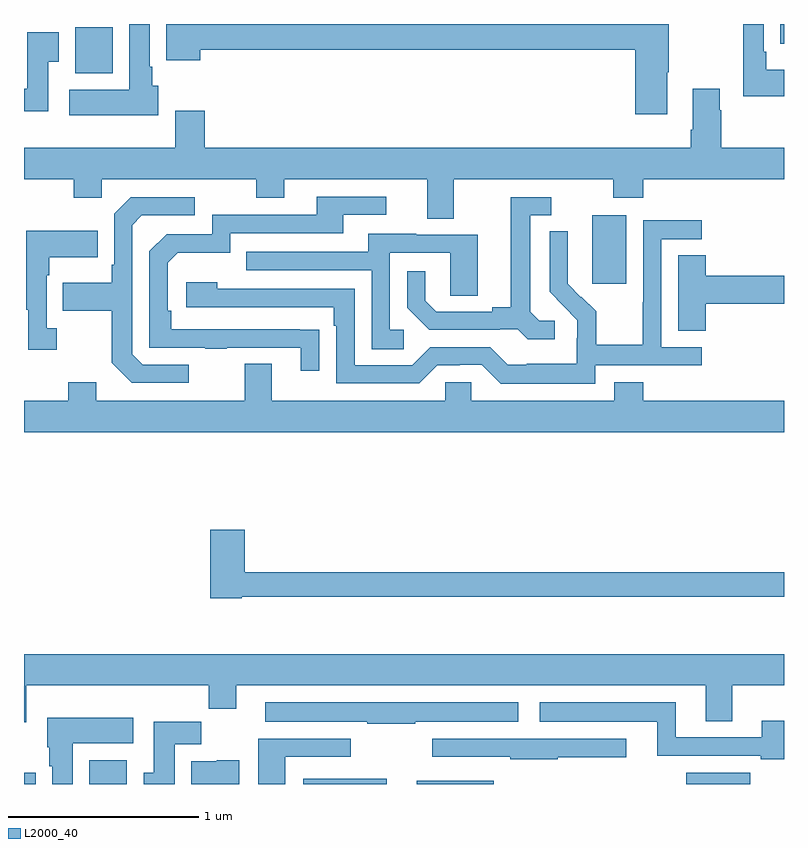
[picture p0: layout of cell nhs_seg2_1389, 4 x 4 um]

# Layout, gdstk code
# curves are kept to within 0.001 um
import gdstk
lib = gdstk.Library(unit=1e-6, precision=1e-09)
def R(c, l, rs):  # rectangles x0, y0, x1, y1
    for r in rs: c.add(gdstk.rectangle(r[:2], r[2:], *l))
def P(c, l, *ps):  # polygons
    for p in ps: c.add(gdstk.Polygon(p, *l))
L2000_40 = (2000, 40)

nhs_seg2_1389 = lib.new_cell('nhs_seg2_1389')
R(nhs_seg2_1389, L2000_40, [(183,629.8,183.061,629.86), (183.344,629.8,183.541,629.926), (184.469,629.8,184.909,629.827), (185.066,629.8,185.473,629.818), (186.485,629.8,186.823,629.86), (185.99,632.433,186.169,632.794), (183.269,633.542,183.466,633.784), (186.979,633.695,187,633.8)])
P(nhs_seg2_1389, L2000_40, [(183.706,633.474),(183.676,633.474),(183.676,633.574),(183.661,633.574),(183.661,633.8),(183.554,633.8),(183.554,633.454),(183.237,633.454),(183.237,633.32),(183.706,633.32)],
  [(187,633.559),(186.907,633.559),(186.907,633.655),(186.894,633.655),(186.894,633.8),(186.786,633.8),(186.786,633.419),(187,633.419)],
  [(186.385,633.547),(186.393,633.547),(186.393,633.8),(183.749,633.8),(183.749,633.608),(183.928,633.608),(183.928,633.664),(186.218,633.664),(186.218,633.324),(186.385,633.324)],
  [(183.127,633.601),(183.184,633.601),(183.184,633.757),(183.017,633.757),(183.017,633.46),(183,633.46),(183,633.342),(183.127,633.342)],
  [(185.263,632.984),(186.1,632.984),(186.1,632.885),(186.26,632.885),(186.26,632.984),(187,632.984),(187,633.148),(186.669,633.148),(186.669,633.347),(186.661,633.347),(186.661,633.46),(186.521,633.46),(186.521,633.244),(186.509,633.244),(186.509,633.148),(183.95,633.148),(183.95,633.343),(183.797,633.343),(183.797,633.148),(183,633.148),(183,632.984),(183.262,632.984),(183.262,632.885),(183.408,632.885),(183.408,632.984),(184.222,632.984),(184.222,632.885),(184.369,632.885),(184.369,632.984),(185.123,632.984),(185.123,632.776),(185.263,632.776)],
  [(184.553,632.192),(183.776,632.193),(183.776,632.29),(183.756,632.29),(183.756,632.544),(183.809,632.597),(184.086,632.597),(184.086,632.7),(184.681,632.7),(184.681,632.796),(184.906,632.796),(184.906,632.892),(184.541,632.892),(184.541,632.796),(183.99,632.796),(183.99,632.694),(183.75,632.694),(183.66,632.604),(183.66,632.097),(183.955,632.097),(183.955,632.092),(184.067,632.092),(184.067,632.097),(184.457,632.097),(184.457,631.974),(184.553,631.974)],
  [(183.868,632.007),(183.624,632.007),(183.57,632.061),(183.57,632.742),(183.621,632.793),(183.898,632.793),(183.898,632.889),(183.561,632.889),(183.474,632.802),(183.474,632.533),(183.462,632.533),(183.462,632.437),(183.205,632.437),(183.205,632.29),(183.462,632.29),(183.462,632.017),(183.567,631.911),(183.868,631.911)],
  [(185.794,632.238),(185.712,632.238),(185.665,632.285),(185.665,632.793),(185.776,632.793),(185.776,632.889),(185.561,632.889),(185.561,632.309),(185.465,632.309),(185.465,632.286),(185.17,632.286),(185.113,632.343),(185.113,632.5),(185.016,632.5),(185.016,632.306),(185.132,632.19),(185.504,632.19),(185.504,632.193),(185.598,632.193),(185.65,632.141),(185.794,632.141)],
  [(186.006,632.004),(186.568,632.004),(186.568,632.1),(186.354,632.1),(186.354,632.667),(186.568,632.667),(186.568,632.766),(186.258,632.766),(186.258,632.336),(186.256,632.336),(186.256,632.113),(186.011,632.113),(186.011,632.287),(185.934,632.364),(185.931,632.361),(185.861,632.432),(185.862,632.708),(185.766,632.708),(185.766,632.39),(185.912,632.242),(185.912,632.145),(185.91,632.145),(185.91,632.011),(185.647,632.011),(185.647,632.007),(185.547,632.007),(185.454,632.1),(185.139,632.1),(185.043,632.004),(184.74,632.004),(184.74,632.406),(184.016,632.406),(184.016,632.44),(183.855,632.44),(183.855,632.31),(184.631,632.31),(184.631,632.213),(184.644,632.213),(184.644,631.908),(185.079,631.908),(185.175,632.004),(185.294,632.004),(185.294,632.007),(185.409,632.007),(185.509,631.907),(186.006,631.907)],
  [(183.172,632.198),(183.12,632.198),(183.12,632.477),(183.133,632.477),(183.133,632.573),(183.389,632.573),(183.389,632.713),(183.012,632.713),(183.012,632.297),(183.023,632.297),(183.023,632.085),(183.172,632.085)],
  [(184.999,632.19),(184.926,632.19),(184.926,632.595),(185.244,632.595),(185.244,632.371),(185.389,632.371),(185.389,632.691),(185.065,632.691),(185.065,632.695),(184.811,632.695),(184.811,632.601),(184.171,632.601),(184.171,632.505),(184.83,632.505),(184.83,632.089),(184.999,632.089)],
  [(186.587,632.327),(187,632.327),(187,632.474),(186.587,632.474),(186.587,632.582),(186.443,632.582),(186.443,632.185),(186.587,632.185)],
  [(187,631.816),(186.26,631.816),(186.26,631.915),(186.107,631.915),(186.107,631.816),(185.355,631.816),(185.355,631.914),(185.217,631.914),(185.217,631.816),(184.303,631.816),(184.303,632.011),(184.163,632.011),(184.163,631.816),(183.379,631.816),(183.379,631.915),(183.232,631.915),(183.232,631.816),(183,631.816),(183,631.652),(187,631.652)],
  [(184.146,630.786),(187,630.786),(187,630.914),(184.163,630.914),(184.163,631.138),(183.98,631.138),(183.98,630.778),(184.146,630.778)],
  [(183.013,630.32),(183.973,630.32),(183.973,630.196),(184.117,630.196),(184.117,630.32),(186.587,630.32),(186.587,630.13),(186.727,630.13),(186.727,630.32),(187,630.32),(187,630.484),(183,630.484),(183,630.126),(183.013,630.126)],
  [(185.06,630.128),(185.602,630.128),(185.602,630.229),(184.269,630.229),(184.269,630.128),(184.807,630.128),(184.807,630.118),(185.06,630.118)],
  [(187,630.133),(186.884,630.133),(186.884,630.045),(186.43,630.045),(186.43,630.229),(185.715,630.229),(185.715,630.128),(186.332,630.128),(186.332,629.949),(186.878,629.949),(186.878,629.929),(187,629.929)],
  [(183.256,630.014),(183.574,630.014),(183.574,630.148),(183.122,630.148),(183.122,629.994),(183.134,629.994),(183.134,629.894),(183.149,629.894),(183.149,629.8),(183.256,629.8)],
  [(183.793,630.008),(183.932,630.008),(183.932,630.127),(183.683,630.127),(183.683,629.86),(183.629,629.86),(183.629,629.8),(183.793,629.8)],
  [(185.81,629.942),(186.169,629.942),(186.169,630.039),(185.148,630.039),(185.148,629.943),(185.56,629.943),(185.56,629.931),(185.81,629.931)],
  [(184.375,629.943),(184.72,629.943),(184.72,630.039),(184.232,630.039),(184.232,629.8),(184.375,629.8)],
  [(184.132,629.926),(184.014,629.926),(184.014,629.92),(183.881,629.92),(183.881,629.8),(184.132,629.8)])

lib.write_gds('nhs_seg2_1389.gds')
